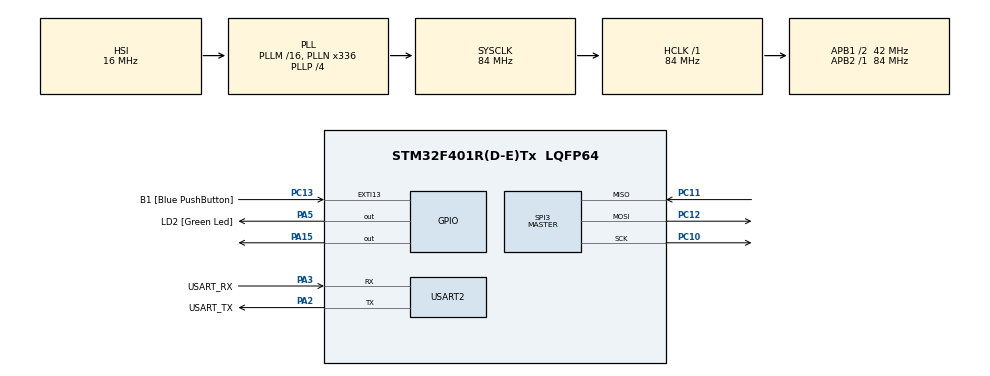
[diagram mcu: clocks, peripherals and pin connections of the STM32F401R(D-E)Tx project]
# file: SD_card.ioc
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FATFS._USE_LFN=1
Mcu.Family=STM32F4
Mcu.Name=STM32F401R(D-E)Tx
Mcu.Package=LQFP64
NVIC.PriorityGroup=NVIC_PRIORITYGROUP_4
PA13.GPIO_Label=TMS
PA13.Mode=Trace_Asynchronous_SW
PA13.Signal=SYS_JTMS-SWDIO
PA14.GPIO_Label=TCK
PA14.Mode=Trace_Asynchronous_SW
PA14.Signal=SYS_JTCK-SWCLK
PA15.Signal=GPIO_Output
PA2.GPIO_Label=USART_TX
PA2.GPIO_Mode=GPIO_MODE_AF_PP
PA2.GPIO_PuPd=GPIO_NOPULL
PA2.GPIO_Speed=GPIO_SPEED_FREQ_LOW
PA2.Mode=Asynchronous
PA2.Signal=USART2_TX
PA3.GPIO_Label=USART_RX
PA3.GPIO_Mode=GPIO_MODE_AF_PP
PA3.GPIO_PuPd=GPIO_NOPULL
PA3.GPIO_Speed=GPIO_SPEED_FREQ_LOW
PA3.Mode=Asynchronous
PA3.Signal=USART2_RX
PA5.GPIO_Label=LD2 [Green Led]
PA5.GPIO_Mode=GPIO_MODE_OUTPUT_PP
PA5.GPIO_PuPd=GPIO_NOPULL
PA5.GPIO_Speed=GPIO_SPEED_FREQ_LOW
PA5.Signal=GPIO_Output
PB3.GPIO_Label=SWO
PB3.Mode=Trace_Asynchronous_SW
PB3.Signal=SYS_JTDO-SWO
PC10.GPIO_Mode=GPIO_MODE_AF_PP
PC10.Mode=Full_Duplex_Master
PC10.Signal=SPI3_SCK
PC11.GPIO_Mode=GPIO_MODE_AF_PP
PC11.Mode=Full_Duplex_Master
PC11.Signal=SPI3_MISO
PC12.GPIO_Mode=GPIO_MODE_AF_PP
PC12.Mode=Full_Duplex_Master
PC12.Signal=SPI3_MOSI
PC13-ANTI_TAMP.GPIO_Label=B1 [Blue PushButton]
PC13-ANTI_TAMP.GPIO_ModeDefaultEXTI=GPIO_MODE_IT_FALLING
PC13-ANTI_TAMP.GPIO_PuPd=GPIO_NOPULL
PC13-ANTI_TAMP.Signal=GPXTI13
PC14-OSC32_IN.Mode=LSE-External-Oscillator
PC14-OSC32_IN.Signal=RCC_OSC32_IN
PC15-OSC32_OUT.Mode=LSE-External-Oscillator
PC15-OSC32_OUT.Signal=RCC_OSC32_OUT
PH0\ -\ OSC_IN.Mode=HSE-External-Clock-Source
PH0\ -\ OSC_IN.Signal=RCC_OSC_IN
PH1\ -\ OSC_OUT.Mode=HSE-External-Clock-Source
PH1\ -\ OSC_OUT.Signal=RCC_OSC_OUT
ProjectManager.HeapSize=0x200
ProjectManager.StackSize=0x400
ProjectManager.TargetToolchain=STM32CubeIDE
RCC.48MHZClocksFreq_Value=48000000
RCC.AHBFreq_Value=84000000
RCC.APB1CLKDivider=RCC_HCLK_DIV2
RCC.APB1Freq_Value=42000000
RCC.APB1TimFreq_Value=84000000
RCC.APB2Freq_Value=84000000
RCC.APB2TimFreq_Value=84000000
RCC.CortexFreq_Value=84000000
RCC.HCLKFreq_Value=84000000
RCC.HSE_VALUE=8000000
RCC.HSI_VALUE=16000000
RCC.PLLN=336
RCC.PLLP=RCC_PLLP_DIV4
RCC.PLLQ=7
RCC.SYSCLKFreq_VALUE=84000000
RCC.SYSCLKSource=RCC_SYSCLKSOURCE_PLLCLK
RCC.VCOOutputFreq_Value=336000000
SPI3.BaudRatePrescaler=SPI_BAUDRATEPRESCALER_256
SPI3.Direction=SPI_DIRECTION_2LINES
SPI3.Mode=SPI_MODE_MASTER
SPI3.VirtualType=VM_MASTER
USART2.VirtualMode=VM_ASYNC
VP_FATFS_VS_Generic.Mode=User_defined
board=NUCLEO-F401RE

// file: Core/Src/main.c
/* USER CODE BEGIN Header */
/**
  ******************************************************************************
  * @file           : main.c
  * @brief          : Main program body
  ******************************************************************************
  * @attention
  *
  * Copyright (c) 2025 STMicroelectronics.
  * All rights reserved.
  *
  * This software is licensed under terms that can be found in the LICENSE file
  * in the root directory of this software component.
  * If no LICENSE file comes with this software, it is provided AS-IS.
  *
  ******************************************************************************
  */
/* USER CODE END Header */
#include "main.h"
#include "fatfs.h"
#include "spi.h"
#include "usart.h"
#include "gpio.h"

/* USER CODE BEGIN PTD */
/* SD Card CS Pin */
#define SD_CS_GPIO_Port GPIOA
#define SD_CS_Pin       GPIO_PIN_15

#define SD_CS_LOW()     HAL_GPIO_WritePin(SD_CS_GPIO_Port, SD_CS_Pin, GPIO_PIN_RESET)
#define SD_CS_HIGH()    HAL_GPIO_WritePin(SD_CS_GPIO_Port, SD_CS_Pin, GPIO_PIN_SET)

/* Simple SD card write test */
void SD_TestWrite(void)
{
    FATFS fs;
    FIL file;
    FRESULT res;

    SD_CS_HIGH();   // CS idle high

    res = f_mount(&fs, "", 1);
    if (res != FR_OK)
        return;

    res = f_open(&file, "stm32.txt", FA_WRITE | FA_CREATE_ALWAYS);
    if (res == FR_OK)
    {
        f_puts("SD Card Working!", &file);
        f_close(&file);
    }
}

/* USER CODE END PTD */

void SystemClock_Config(void);

int main(void)
{

  /* MCU Configuration--------------------------------------------------------*/

  /* Reset of all peripherals, Initializes the Flash interface and the Systick. */
  HAL_Init();

  /* Configure the system clock */
  SystemClock_Config();

  /* Initialize all configured peripherals */
  MX_GPIO_Init();
  MX_USART2_UART_Init();
  MX_SPI3_Init();
  MX_FATFS_Init();
  /* USER CODE BEGIN 2 */

  FATFS fs;
  FIL file;
  FRESULT res;
  extern BYTE USER_GetCardType(void);
  char dbg[32];

  /* send some dummy clocks with CS high */
  SD_CS_HIGH();
  for (int i = 0; i < 10; i++)
  {
    uint8_t dummy = 0xFF;
    HAL_SPI_Transmit(&hspi3, &dummy, 1, 10);
  }

  res = f_mount(&fs, "", 1);
  if (res == FR_OK)
  {
      const char ok[] = "SD mount OK\r\n";
      HAL_UART_Transmit(&huart2, (uint8_t*)ok, sizeof(ok)-1, 100);
      HAL_GPIO_TogglePin(LD2_GPIO_Port, LD2_Pin);

      /* report detected card type */
      uint8_t ctype = USER_GetCardType();
      int n = snprintf(dbg, sizeof(dbg), "CardType=0x%02X\r\n", ctype);
      if (n > 0)
      {
        HAL_UART_Transmit(&huart2, (uint8_t*)dbg, (uint16_t)n, 100);
      }

      /* try writing a file */
      res = f_open(&file, "log.txt", FA_WRITE | FA_CREATE_ALWAYS);
      if (res == FR_OK)
      {
          f_puts("Hello from STM32F401!\r\n", &file);
          f_close(&file);
          const char wrote[] = "Write OK\r\n";
          HAL_UART_Transmit(&huart2, (uint8_t*)wrote, sizeof(wrote)-1, 100);
      }
      else
      {
          const char wfail[] = "Write FAIL\r\n";
          HAL_UART_Transmit(&huart2, (uint8_t*)wfail, sizeof(wfail)-1, 100);
      }
  }
  else
  {
      char fail[32];
      int n = snprintf(fail, sizeof(fail), "SD mount FAIL (%d)\r\n", res);
      HAL_UART_Transmit(&huart2, (uint8_t*)fail, (uint16_t)n, 100);
      Error_Handler();
  }

  /* USER CODE END 2 */

  /* Infinite loop */
  while (1)
  {

  }
}

void SystemClock_Config(void)
{
  RCC_OscInitTypeDef RCC_OscInitStruct = {0};
  RCC_ClkInitTypeDef RCC_ClkInitStruct = {0};

  /** Configure the main internal regulator output voltage
  */
  __HAL_RCC_PWR_CLK_ENABLE();
  __HAL_PWR_VOLTAGESCALING_CONFIG(PWR_REGULATOR_VOLTAGE_SCALE2);

  /** Initializes the RCC Oscillators according to the specified parameters
  * in the RCC_OscInitTypeDef structure.
  */
  RCC_OscInitStruct.OscillatorType = RCC_OSCILLATORTYPE_HSI;
  RCC_OscInitStruct.HSIState = RCC_HSI_ON;
  RCC_OscInitStruct.HSICalibrationValue = RCC_HSICALIBRATION_DEFAULT;
  RCC_OscInitStruct.PLL.PLLState = RCC_PLL_ON;
  RCC_OscInitStruct.PLL.PLLSource = RCC_PLLSOURCE_HSI;
  RCC_OscInitStruct.PLL.PLLM = 16;
  RCC_OscInitStruct.PLL.PLLN = 336;
  RCC_OscInitStruct.PLL.PLLP = RCC_PLLP_DIV4;
  RCC_OscInitStruct.PLL.PLLQ = 7;
  if (HAL_RCC_OscConfig(&RCC_OscInitStruct) != HAL_OK)
  {
    Error_Handler();
  }

  /** Initializes the CPU, AHB and APB buses clocks
  */
  RCC_ClkInitStruct.ClockType = RCC_CLOCKTYPE_HCLK|RCC_CLOCKTYPE_SYSCLK
                              |RCC_CLOCKTYPE_PCLK1|RCC_CLOCKTYPE_PCLK2;
  RCC_ClkInitStruct.SYSCLKSource = RCC_SYSCLKSOURCE_PLLCLK;
  RCC_ClkInitStruct.AHBCLKDivider = RCC_SYSCLK_DIV1;
  RCC_ClkInitStruct.APB1CLKDivider = RCC_HCLK_DIV2;
  RCC_ClkInitStruct.APB2CLKDivider = RCC_HCLK_DIV1;

  if (HAL_RCC_ClockConfig(&RCC_ClkInitStruct, FLASH_LATENCY_2) != HAL_OK)
  {
    Error_Handler();
  }
}

void Error_Handler(void)
{
  __disable_irq();
  while (1)
  {
  }
}
